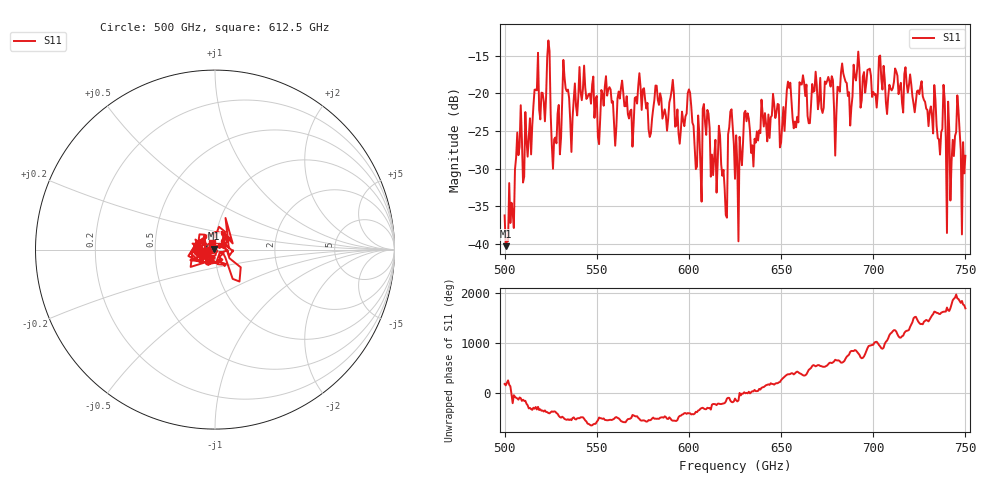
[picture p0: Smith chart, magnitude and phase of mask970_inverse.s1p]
!Created with skrf (http://scikit-rf.org).
# GHz S MA R 50.0
!freq magS11 angS11
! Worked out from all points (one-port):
!   401 points, 500 GHz to 750 GHz, reference 50 ohm
!   lowest |S11| = -40.3 dB at 500.6 GHz (marker M1), VSWR 1.02, Z = 49.2 + j0.531 ohm
!   |S11| at or under -10 dB: start of sweep to end of sweep
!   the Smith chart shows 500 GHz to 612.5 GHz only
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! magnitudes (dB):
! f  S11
! 500 GHz  -36.2
! 500.6 GHz  -40.3
! 507.5 GHz  -28.2
! 511.2 GHz  -22.5
! 516.9 GHz  -19.5
! 523.8 GHz  -13.0
! 526.9 GHz  -26.1
! 531.2 GHz  -21.0
! 562.5 GHz  -20.7
! 579.4 GHz  -25.3
! 590.6 GHz  -19.6
! 593.8 GHz  -22.2
! 600 GHz  -19.5
! 605.6 GHz  -25.3
! 609.4 GHz  -25.5
! 619.4 GHz  -32.6
! 622.5 GHz  -22.4
! 625 GHz  -31.4
! 656.2 GHz  -23.3
! 676.9 GHz  -19.1
! 680 GHz  -22.7
! 683.8 GHz  -17.4
! 687.5 GHz  -24.3
! 690.6 GHz  -18.3
! 718.8 GHz  -19.9
! 741.2 GHz  -24.9
! 745.6 GHz  -20.3
! 750 GHz  -28.3
